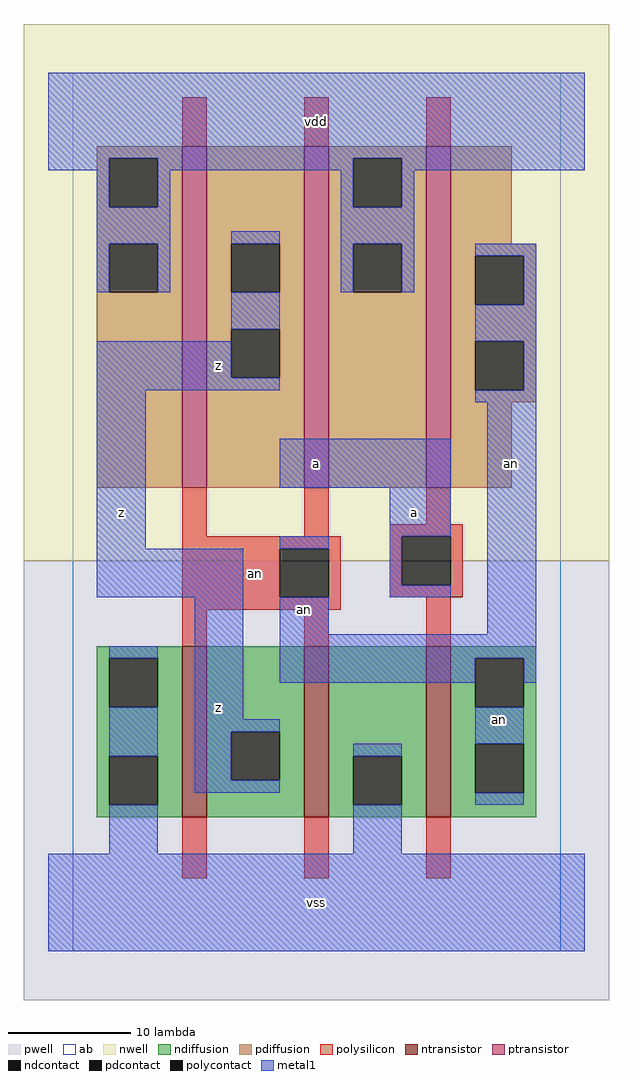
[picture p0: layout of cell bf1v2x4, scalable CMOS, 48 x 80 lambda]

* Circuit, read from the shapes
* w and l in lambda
.subckt bf1v2x4 a an vdd vss z
M1 z an vss VSUBS nfet w=14 l=2 m=2
M2 an a vss VSUBS nfet w=14 l=2
M3 z an vdd n1 pfet w=28 l=2 m=2
M4 an a vdd n1 pfet w=28 l=2
.ends

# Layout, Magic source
magic
tech scmos
<< ab >>
rect 0 0 40 72
<< pwell >>
rect -4 -4 44 32
<< nwell >>
rect -4 32 44 76
<< polysilicon >>
rect 9 66 11 70
rect 19 66 21 70
rect 29 66 31 70
rect 9 34 11 38
rect 19 34 21 38
rect 29 35 31 38
rect 26 34 32 35
rect 9 33 22 34
rect 9 29 17 33
rect 21 29 22 33
rect 26 30 27 34
rect 31 30 32 34
rect 26 29 32 30
rect 9 28 22 29
rect 9 25 11 28
rect 19 25 21 28
rect 29 25 31 29
rect 9 6 11 11
rect 19 6 21 11
rect 29 6 31 11
<< ndiffusion >>
rect 2 24 9 25
rect 2 20 3 24
rect 7 20 9 24
rect 2 16 9 20
rect 2 12 3 16
rect 7 12 9 16
rect 2 11 9 12
rect 11 18 19 25
rect 11 14 13 18
rect 17 14 19 18
rect 11 11 19 14
rect 21 16 29 25
rect 21 12 23 16
rect 27 12 29 16
rect 21 11 29 12
rect 31 24 38 25
rect 31 20 33 24
rect 37 20 38 24
rect 31 17 38 20
rect 31 13 33 17
rect 37 13 38 17
rect 31 11 38 13
<< pdiffusion >>
rect 2 65 9 66
rect 2 61 3 65
rect 7 61 9 65
rect 2 58 9 61
rect 2 54 3 58
rect 7 54 9 58
rect 2 38 9 54
rect 11 58 19 66
rect 11 54 13 58
rect 17 54 19 58
rect 11 51 19 54
rect 11 47 13 51
rect 17 47 19 51
rect 11 38 19 47
rect 21 65 29 66
rect 21 61 23 65
rect 27 61 29 65
rect 21 58 29 61
rect 21 54 23 58
rect 27 54 29 58
rect 21 38 29 54
rect 31 58 36 66
rect 31 57 38 58
rect 31 53 33 57
rect 37 53 38 57
rect 31 50 38 53
rect 31 46 33 50
rect 37 46 38 50
rect 31 45 38 46
rect 31 38 36 45
<< metal1 >>
rect -2 65 42 72
rect -2 64 3 65
rect 2 61 3 64
rect 7 64 23 65
rect 7 61 8 64
rect 2 58 8 61
rect 22 61 23 64
rect 27 64 42 65
rect 27 61 28 64
rect 2 54 3 58
rect 7 54 8 58
rect 13 58 17 59
rect 22 58 28 61
rect 22 54 23 58
rect 27 54 28 58
rect 33 57 38 58
rect 13 51 17 54
rect 2 47 13 50
rect 2 46 17 47
rect 37 53 38 57
rect 33 50 38 53
rect 37 46 38 50
rect 2 33 6 46
rect 33 45 38 46
rect 17 38 31 42
rect 26 34 31 38
rect 17 33 21 34
rect 2 29 14 33
rect 3 24 7 25
rect 3 16 7 20
rect 10 19 14 29
rect 26 30 27 34
rect 26 29 31 30
rect 17 26 21 29
rect 34 26 38 45
rect 17 24 38 26
rect 17 22 33 24
rect 37 22 38 24
rect 10 18 17 19
rect 10 14 13 18
rect 33 17 37 20
rect 10 13 17 14
rect 23 16 27 17
rect 3 8 7 12
rect 33 12 37 13
rect 23 8 27 12
rect -2 0 42 8
<< ntransistor >>
rect 9 11 11 25
rect 19 11 21 25
rect 29 11 31 25
<< ptransistor >>
rect 9 38 11 66
rect 19 38 21 66
rect 29 38 31 66
<< polycontact >>
rect 17 29 21 33
rect 27 30 31 34
<< ndcontact >>
rect 3 20 7 24
rect 3 12 7 16
rect 13 14 17 18
rect 23 12 27 16
rect 33 20 37 24
rect 33 13 37 17
<< pdcontact >>
rect 3 61 7 65
rect 3 54 7 58
rect 13 54 17 58
rect 13 47 17 51
rect 23 61 27 65
rect 23 54 27 58
rect 33 53 37 57
rect 33 46 37 50
<< labels >>
rlabel polysilicon 15 31 15 31 6 an
rlabel metal1 4 36 4 36 6 z
rlabel metal1 12 20 12 20 6 z
rlabel metal1 12 48 12 48 6 z
rlabel metal1 20 4 20 4 6 vss
rlabel metal1 19 28 19 28 6 an
rlabel metal1 28 36 28 36 6 a
rlabel metal1 20 40 20 40 6 a
rlabel metal1 20 68 20 68 6 vdd
rlabel metal1 35 19 35 19 6 an
rlabel metal1 36 40 36 40 6 an
<< end >>
